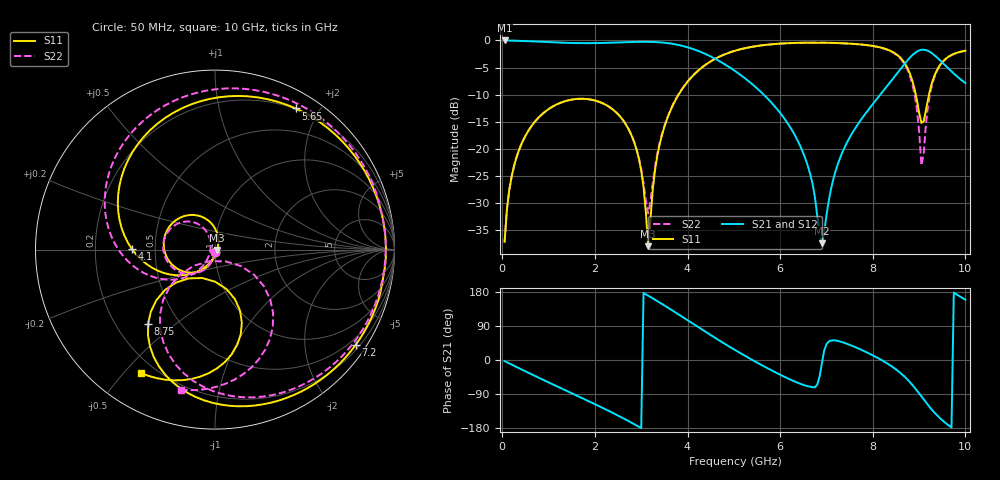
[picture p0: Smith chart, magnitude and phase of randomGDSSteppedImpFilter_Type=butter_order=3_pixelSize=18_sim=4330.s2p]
! freq	dB(S11)	phase(S11)	dB(S12)	phase(S12)
!  dB(S21)	phase(S21)	dB(S22)	phase(S22)
!S-par simulation data
#  GHz  S  DB  R 50
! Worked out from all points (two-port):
!   200 points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, 50 MHz to 10 GHz, reference 50 ohm
!   highest |S21| = -0.01 dB at 50 MHz (marker M1); lowest = -37.5 dB at 6.9 GHz (marker M2)
!   |S21| within 3 dB of the highest: start of sweep to 4.51 GHz; 8.821 GHz to 9.369 GHz (547.8 MHz wide, 6.02 % of centre)
!   lowest |S11| = -38.0 dB at 3.15 GHz (marker M3), VSWR 1.03, Z = 51.3 - j0.14 ohm
!   |S11| at or under -10 dB: start of sweep to 3.807 GHz; 8.928 GHz to 9.215 GHz (287 MHz wide, 3.16 % of centre)
!   |S22| runs from -37.1 to -0.4 dB; largest |S21 - S12| = 0
!   S11 on the Smith chart (normalised r, x): 50 MHz: 1.00, -0.03; 4.1 GHz: 0.37, +0.01; 5.65 GHz: 0.19, +1.70; 7.2 GHz: 0.32, -3.24; 8.75 GHz: 0.34, -0.40; 10 GHz: 0.14, -0.56
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0.05  -37.15 -92.5  -0.01 -3.1  -0.01 -3.1  -37.15 -92.3
0.2  -25.19 -102.6  -0.03 -12.1  -0.03 -12.1  -25.19 -101.8
0.5  -17.60 -121.5  -0.12 -30.0  -0.12 -30.0  -17.60 -119.4
1.75  -10.77 163.2  -0.50 -102.1  -0.50 -102.1  -10.77 171.7
2.8  -17.71 93.2  -0.29 -166.1  -0.29 -166.1  -17.66 117.4
3  -24.05 73.1  -0.26 -179.6  -0.26 -179.6  -23.70 116.2
3.15  -37.97 -6.2  -0.26 169.8  -0.26 169.8  -31.92 171.2
3.4  -19.11 -119.2  -0.35 151.5  -0.35 151.5  -18.83 -126.9
4.1  -6.66 179.3  -1.54 97.0  -1.54 97.0  -6.61 -169.0
4.55  -3.62 142.2  -3.18 61.8  -3.18 61.8  -3.59 158.3
5.05  -1.85 103.3  -5.79 24.6  -5.79 24.6  -1.84 122.9
5.65  -0.86 60.3  -10.04 -16.7  -10.04 -16.7  -0.86 82.6
6.7  -0.43 -5.9  -26.47 -71.7  -26.47 -71.7  -0.43 16.7
6.9  -0.42 -17.2  -37.46 -9.2  -37.46 -9.2  -0.43 4.8
7.2  -0.48 -34.1  -24.01 51.5  -24.01 51.5  -0.48 -13.1
7.85  -0.84 -70.0  -13.41 21.3  -13.41 21.3  -0.86 -52.3
8.35  -1.80 -100.8  -7.99 -12.0  -7.99 -12.0  -1.86 -86.8
8.75  -5.11 -132.1  -3.67 -51.6  -3.67 -51.6  -5.40 -124.6
8.95  -10.89 -139.9  -2.08 -80.0  -2.08 -80.0  -12.52 -144.4
9.05  -15.22 -114.0  -1.74 -96.1  -1.74 -96.1  -23.04 -114.2
9.35  -6.13 -73.1  -2.86 -141.3  -2.86 -141.3  -6.37 -47.6
10  -1.91 -121.0  -7.88 159.1  -7.88 159.1  -1.90 -103.7
